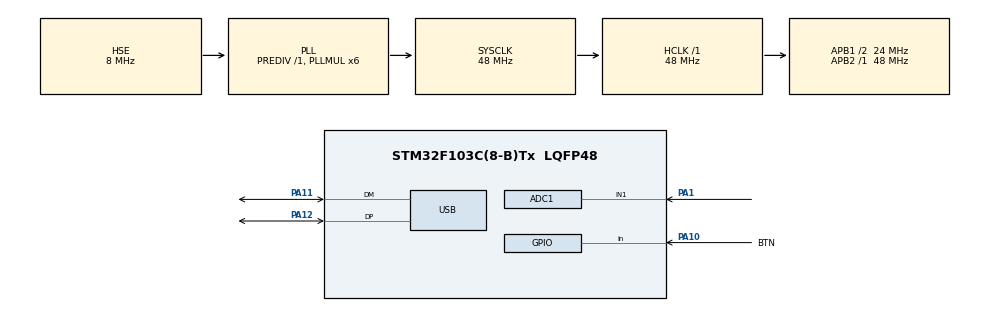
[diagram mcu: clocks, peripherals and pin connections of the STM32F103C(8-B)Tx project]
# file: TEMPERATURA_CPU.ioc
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ADC1.Channel-0\#ChannelRegularConversion=ADC_CHANNEL_1
ADC1.ContinuousConvMode=ENABLE
ADC1.NbrOfConversionFlag=1
ADC1.Rank-0\#ChannelRegularConversion=1
ADC1.SamplingTime-0\#ChannelRegularConversion=ADC_SAMPLETIME_1CYCLE_5
ADC1.master=1
Mcu.Family=STM32F1
Mcu.Name=STM32F103C(8-B)Tx
Mcu.Package=LQFP48
NVIC.PriorityGroup=NVIC_PRIORITYGROUP_4
NVIC.USB_LP_CAN1_RX0_IRQn=true\:0\:0\:false\:false\:true\:false\:true
PA1.Signal=ADCx_IN1
PA10.GPIO_Label=BTN
PA10.GPIO_PuPd=GPIO_PULLUP
PA10.Signal=GPIO_Input
PA11.Mode=Device
PA11.Signal=USB_DM
PA12.Mode=Device
PA12.Signal=USB_DP
PA13.Mode=Serial_Wire
PA13.Signal=SYS_JTMS-SWDIO
PA14.Mode=Serial_Wire
PA14.Signal=SYS_JTCK-SWCLK
PD0-OSC_IN.Mode=HSE-External-Oscillator
PD0-OSC_IN.Signal=RCC_OSC_IN
PD1-OSC_OUT.Mode=HSE-External-Oscillator
PD1-OSC_OUT.Signal=RCC_OSC_OUT
ProjectManager.HeapSize=0x200
ProjectManager.StackSize=0x400
ProjectManager.TargetToolchain=STM32CubeIDE
RCC.ADCPresc=RCC_ADCPCLK2_DIV4
RCC.AHBFreq_Value=48000000
RCC.APB1CLKDivider=RCC_HCLK_DIV2
RCC.APB1Freq_Value=24000000
RCC.APB1TimFreq_Value=48000000
RCC.APB2Freq_Value=48000000
RCC.APB2TimFreq_Value=48000000
RCC.HCLKFreq_Value=48000000
RCC.PLLMUL=RCC_PLL_MUL6
RCC.SYSCLKFreq_VALUE=48000000
RCC.SYSCLKSource=RCC_SYSCLKSOURCE_PLLCLK
RCC.USBFreq_Value=48000000
SH.ADCx_IN1.0=ADC1_IN1,IN1
USB_DEVICE.CLASS_NAME_FS=CDC
USB_DEVICE.VirtualMode=Cdc
USB_DEVICE.VirtualModeFS=Cdc_FS
VP_USB_DEVICE_VS_USB_DEVICE_CDC_FS.Mode=CDC_FS
board=custom

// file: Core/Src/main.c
/* USER CODE BEGIN Header */
/**
  ******************************************************************************
  * @file           : main.c
  * @brief          : Main program body
  ******************************************************************************
  * @attention
  *
  * Copyright (c) 2026 STMicroelectronics.
  * All rights reserved.
  *
  * This software is licensed under terms that can be found in the LICENSE file
  * in the root directory of this software component.
  * If no LICENSE file comes with the software, it is provided AS-IS.
  *
  ******************************************************************************
  */
/* USER CODE END Header */

#include "main.h"
#include "usb_device.h"

/* USER CODE BEGIN Includes */
#include "usbd_cdc_if.h"
#include <stdbool.h>
#include <stdint.h>
/* USER CODE END Includes */

/* USER CODE BEGIN PD */

#define LER_BOTAO HAL_GPIO_ReadPin(BTN_GPIO_Port, BTN_Pin)

#define NUM_AMOSTRAS 10
#define PROP_CONSTANTE 12.41
#define INTERVALO_ENVIO 1000

/* Protocolo proprietário */
#define SOF 0xAA
#define TIPO_TEMPERATURA 0x01
#define EOF_BYTE 0x55

#define TAMANHO_PACOTE 6

/* USER CODE END PD */

ADC_HandleTypeDef hadc1;

void SystemClock_Config(void);
static void MX_GPIO_Init(void);
static void MX_ADC1_Init(void);

/* USER CODE BEGIN PFP */

float media(float nums[], uint32_t tamanho);

uint8_t CRC8(const uint8_t *dados, uint8_t tamanho);

void EnviarTemperatura(float temperatura);

/* USER CODE END PFP */

int main(void)
{

  /* MCU Configuration--------------------------------------------------------*/

  /* Reset of all peripherals, Initializes the Flash interface and the Systick. */
  HAL_Init();

  /* Configure the system clock */
  SystemClock_Config();

  /* Initialize all configured peripherals */
  MX_GPIO_Init();
  MX_ADC1_Init();
  MX_USB_DEVICE_Init();

  /* USER CODE BEGIN 2 */

  HAL_ADC_Start(&hadc1);

  uint8_t amostras_count = 0;
  float amostras[NUM_AMOSTRAS];
  uint8_t nova_amostra_index = 0;

  uint32_t ultimo_envio = 0;
  uint32_t tempo_atual = 0;

  bool filtrar = false;

  /* USER CODE END 2 */

  /* Infinite loop */
  /* USER CODE BEGIN WHILE */

  while (1)
  {
    if (LER_BOTAO == GPIO_PIN_RESET)
    {
      HAL_Delay(50);

      if (LER_BOTAO == GPIO_PIN_RESET)
      {
        filtrar = !filtrar;

        while (LER_BOTAO == GPIO_PIN_RESET)
        {
        }
      }
    }

    tempo_atual = HAL_GetTick();

    HAL_ADC_PollForConversion(&hadc1, HAL_MAX_DELAY);

    uint32_t adc = HAL_ADC_GetValue(&hadc1);

    float temperatura = (float)adc / PROP_CONSTANTE;

    amostras[nova_amostra_index] = temperatura;

    if (amostras_count < NUM_AMOSTRAS)
    {
      amostras_count++;
    }

    nova_amostra_index++;

    if (nova_amostra_index == NUM_AMOSTRAS)
    {
      nova_amostra_index = 0;
    }

    if ((tempo_atual - ultimo_envio) >= INTERVALO_ENVIO)
    {
      ultimo_envio = tempo_atual;

      if (amostras_count == NUM_AMOSTRAS && filtrar)
      {
        temperatura = media(amostras, NUM_AMOSTRAS);
      }

      if (!filtrar || amostras_count == NUM_AMOSTRAS)
      {
        EnviarTemperatura(temperatura);
      }
    }

    /* USER CODE END WHILE */

  }
}

void SystemClock_Config(void)
{
  RCC_OscInitTypeDef RCC_OscInitStruct = {0};
  RCC_ClkInitTypeDef RCC_ClkInitStruct = {0};
  RCC_PeriphCLKInitTypeDef PeriphClkInit = {0};

  /** Initializes the RCC Oscillators according to the specified parameters
  * in the RCC_OscInitTypeDef structure.
  */
  RCC_OscInitStruct.OscillatorType = RCC_OSCILLATORTYPE_HSE;
  RCC_OscInitStruct.HSEState = RCC_HSE_ON;
  RCC_OscInitStruct.HSEPredivValue = RCC_HSE_PREDIV_DIV1;
  RCC_OscInitStruct.HSIState = RCC_HSI_ON;
  RCC_OscInitStruct.PLL.PLLState = RCC_PLL_ON;
  RCC_OscInitStruct.PLL.PLLSource = RCC_PLLSOURCE_HSE;
  RCC_OscInitStruct.PLL.PLLMUL = RCC_PLL_MUL6;

  if (HAL_RCC_OscConfig(&RCC_OscInitStruct) != HAL_OK)
  {
    Error_Handler();
  }

  /** Initializes the CPU, AHB and APB buses clocks
  */
  RCC_ClkInitStruct.ClockType = RCC_CLOCKTYPE_HCLK |
                                RCC_CLOCKTYPE_SYSCLK |
                                RCC_CLOCKTYPE_PCLK1 |
                                RCC_CLOCKTYPE_PCLK2;

  RCC_ClkInitStruct.SYSCLKSource = RCC_SYSCLKSOURCE_PLLCLK;
  RCC_ClkInitStruct.AHBCLKDivider = RCC_SYSCLK_DIV1;
  RCC_ClkInitStruct.APB1CLKDivider = RCC_HCLK_DIV2;
  RCC_ClkInitStruct.APB2CLKDivider = RCC_HCLK_DIV1;

  if (HAL_RCC_ClockConfig(&RCC_ClkInitStruct, FLASH_LATENCY_1) != HAL_OK)
  {
    Error_Handler();
  }

  PeriphClkInit.PeriphClockSelection = RCC_PERIPHCLK_ADC |
                                       RCC_PERIPHCLK_USB;

  PeriphClkInit.AdcClockSelection = RCC_ADCPCLK2_DIV4;
  PeriphClkInit.UsbClockSelection = RCC_USBCLKSOURCE_PLL;

  if (HAL_RCCEx_PeriphCLKConfig(&PeriphClkInit) != HAL_OK)
  {
    Error_Handler();
  }
}

static void MX_ADC1_Init(void)
{

  ADC_ChannelConfTypeDef sConfig = {0};

  /** Common config
  */
  hadc1.Instance = ADC1;
  hadc1.Init.ScanConvMode = ADC_SCAN_DISABLE;
  hadc1.Init.ContinuousConvMode = ENABLE;
  hadc1.Init.DiscontinuousConvMode = DISABLE;
  hadc1.Init.ExternalTrigConv = ADC_SOFTWARE_START;
  hadc1.Init.DataAlign = ADC_DATAALIGN_RIGHT;
  hadc1.Init.NbrOfConversion = 1;

  if (HAL_ADC_Init(&hadc1) != HAL_OK)
  {
    Error_Handler();
  }

  /** Configure Regular Channel
  */
  sConfig.Channel = ADC_CHANNEL_1;
  sConfig.Rank = ADC_REGULAR_RANK_1;
  sConfig.SamplingTime = ADC_SAMPLETIME_1CYCLE_5;

  if (HAL_ADC_ConfigChannel(&hadc1, &sConfig) != HAL_OK)
  {
    Error_Handler();
  }

}

static void MX_GPIO_Init(void)
{
  GPIO_InitTypeDef GPIO_InitStruct = {0};

  /* GPIO Ports Clock Enable */
  __HAL_RCC_GPIOD_CLK_ENABLE();
  __HAL_RCC_GPIOA_CLK_ENABLE();

  /*Configure GPIO pin : BTN_Pin */
  GPIO_InitStruct.Pin = BTN_Pin;
  GPIO_InitStruct.Mode = GPIO_MODE_INPUT;
  GPIO_InitStruct.Pull = GPIO_PULLUP;

  HAL_GPIO_Init(BTN_GPIO_Port, &GPIO_InitStruct);
}

/* USER CODE BEGIN 4 */

/**
  * @brief Calcula o CRC-8.
  *
  * Algoritmo utilizado:
  * CRC-8/ATM
  *
  * Polinômio: 0x07
  * Valor inicial: 0x00
  *
  * O CRC é calculado sobre os dados do protocolo,
  * excluindo SOF, CRC e EOF.
  */
uint8_t CRC8(const uint8_t *dados, uint8_t tamanho)
{
  uint8_t crc = 0x00;

  for (uint8_t i = 0; i < tamanho; i++)
  {
    crc ^= dados[i];

    for (uint8_t bit = 0; bit < 8; bit++)
    {
      if (crc & 0x80)
      {
        crc = (crc << 1) ^ 0x07;
      }
      else
      {
        crc <<= 1;
      }
    }
  }

  return crc;
}

float media(float nums[], uint32_t tamanho)
{
  float soma = 0.0f;

  for (uint32_t i = 0; i < tamanho; i++)
  {
    soma += nums[i];
  }

  return soma / (float)tamanho;
}

/**
  * @brief
  *
  * Estrutura do pacote:
  *
  * Byte 0: SOF              = 0xAA
  * Byte 1: TIPO             = 0x01
  * Byte 2: TEMPERATURA_LSB
  * Byte 3: TEMPERATURA_MSB
  * Byte 4: CRC-8
  * Byte 5: EOF              = 0x55
  */
void EnviarTemperatura(float temperatura)
{
  uint8_t pacote[TAMANHO_PACOTE];

  /*
   *
   *
   *
   *
   *
   */
  int16_t temperatura_int =
      (int16_t)(temperatura * 100.0f);

  /* Início do pacote */
  pacote[0] = SOF;

  /* Identificação do tipo de dado */
  pacote[1] = TIPO_TEMPERATURA;

  /*
   * Temperatura em little-endian.
   *
   * Byte menos significativo.
   */
  pacote[2] =
      (uint8_t)(temperatura_int & 0xFF);

  /*
   * Byte mais significativo.
   */
  pacote[3] =
      (uint8_t)((temperatura_int >> 8) & 0xFF);

  /*
   * CRC calculado sobre:
   *
   * pacote[1] = TIPO
   * pacote[2] = TEMPERATURA_LSB
   * pacote[3] = TEMPERATURA_MSB
   *
   */
  pacote[4] =
      CRC8(&pacote[1], 3);

  /* Fim do pacote */
  pacote[5] = EOF_BYTE;

  /*
   * Transmite os 6 bytes.
   *
   */
  CDC_Transmit_FS(
      pacote,
      TAMANHO_PACOTE
  );
}

/* USER CODE END 4 */

void Error_Handler(void)
{
  __disable_irq();
  while (1)
  {
  }
}

#ifdef USE_FULL_ASSERT

/**
  * @brief  Reports the name of the source file and the source line number
  * @param  file: pointer to the source file name
  * @param  line: assert_param error line number
  * @retval None
  */
void assert_failed(uint8_t *file, uint32_t line)
{
  /* USER CODE BEGIN 6 */

  /*
     ex: printf("Wrong parameters value: file %s on line %d\r\n", file, line)
  */

  /* USER CODE END 6 */
}

#endif /* USE_FULL_ASSERT */

/************************ (C) COPYRIGHT STMicroelectronics *****END OF FILE****/
